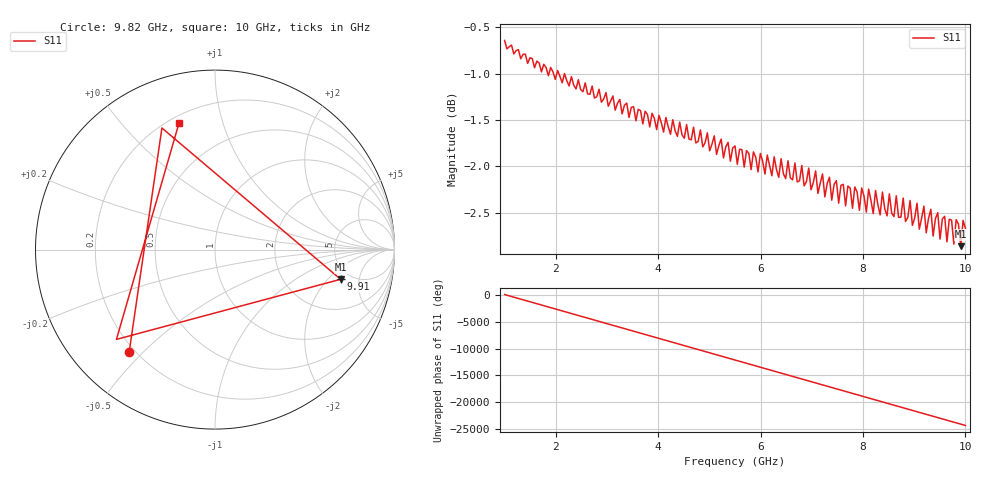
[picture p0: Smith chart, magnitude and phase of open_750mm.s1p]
# HZ S RI R 50
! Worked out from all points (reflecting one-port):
!   201 points, 1 GHz to 10 GHz, reference 50 ohm
!   lowest |S11| = -2.9 dB at 9.91 GHz (marker M1), VSWR 6.12, Z = 206 - j141 ohm
!   phase of S11 starts at 156 deg and turns -24530 deg over the sweep
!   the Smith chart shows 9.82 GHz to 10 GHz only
!   S11 on the Smith chart (normalised r, x): 9.82 GHz: 0.18, -0.45; 9.91 GHz: 4.11, -2.82; 10 GHz: 0.24, +0.73
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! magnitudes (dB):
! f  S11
! 1 GHz  -0.6
! 2.125 GHz  -1.1
! 3.25 GHz  -1.3
! 4.375 GHz  -1.7
! 5.5 GHz  -1.8
! 6.625 GHz  -2.1
! 7.75 GHz  -2.2
! 7.795 GHz  -2.5
! 7.975 GHz  -2.2
! 8.065 GHz  -2.5
! 8.11 GHz  -2.2
! 8.2 GHz  -2.5
! 8.875 GHz  -2.6
! 9.055 GHz  -2.4
! 9.1 GHz  -2.7
! 9.19 GHz  -2.4
! 9.235 GHz  -2.7
! 9.325 GHz  -2.5
! 9.37 GHz  -2.8
! 9.46 GHz  -2.5
! 9.505 GHz  -2.8
! 9.595 GHz  -2.5
! 9.64 GHz  -2.8
! 9.73 GHz  -2.6
! 9.775 GHz  -2.8
! 9.82 GHz  -2.6
! 9.91 GHz  -2.9
! 10 GHz  -2.7
